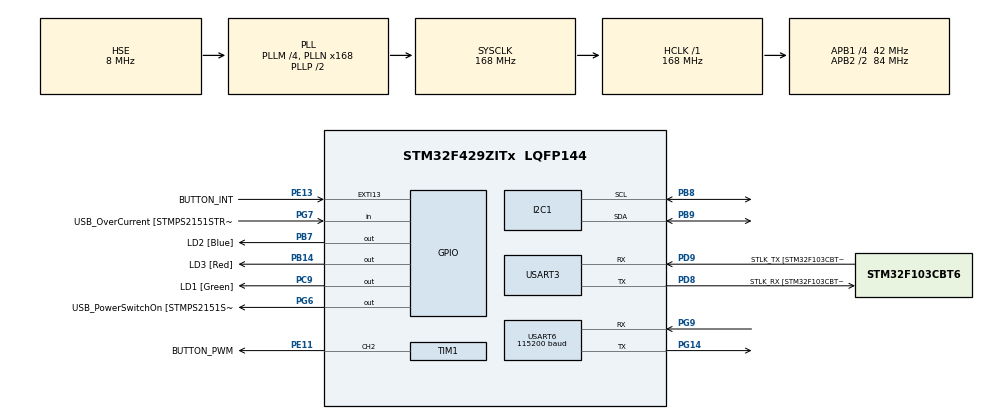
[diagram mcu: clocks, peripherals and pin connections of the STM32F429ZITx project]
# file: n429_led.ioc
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Mcu.Family=STM32F4
Mcu.Name=STM32F429ZITx
Mcu.Package=LQFP144
NVIC.EXTI15_10_IRQn=true\:3\:0\:true\:false\:true\:true\:true
NVIC.PriorityGroup=NVIC_PRIORITYGROUP_4
NVIC.TIM1_TRG_COM_TIM11_IRQn=true\:0\:0\:false\:false\:true\:true\:true
NVIC.USART3_IRQn=true\:0\:0\:false\:false\:true\:true\:true
NVIC.USART6_IRQn=true\:0\:0\:false\:false\:true\:true\:true
PA1.GPIO_Label=RMII_REF_CLK [LAN8742A-CZ-TR_REFCLK0]
PA1.Signal=ETH_REF_CLK
PA10.GPIO_Label=USB_ID
PA10.Signal=USB_OTG_FS_ID
PA11.GPIO_Label=USB_DM
PA11.Signal=USB_OTG_FS_DM
PA12.GPIO_Label=USB_DP
PA12.Signal=USB_OTG_FS_DP
PA13.GPIO_Label=TMS
PA13.Mode=Serial_Wire
PA13.Signal=SYS_JTMS-SWDIO
PA14.GPIO_Label=TCK
PA14.Mode=Serial_Wire
PA14.Signal=SYS_JTCK-SWCLK
PA2.GPIO_Label=RMII_MDIO [LAN8742A-CZ-TR_MDIO]
PA2.Signal=ETH_MDIO
PA7.GPIO_Label=RMII_CRS_DV [LAN8742A-CZ-TR_CRS_DV]
PA7.Signal=ETH_CRS_DV
PA8.GPIO_Label=USB_SOF [TP1]
PA8.Signal=USB_OTG_FS_SOF
PA9.GPIO_Label=USB_VBUS
PA9.Signal=USB_OTG_FS_VBUS
PB13.GPIO_Label=RMII_TXD1 [LAN8742A-CZ-TR_TXD1]
PB13.Signal=ETH_TXD1
PB14.GPIO_Label=LD3 [Red]
PB14.Signal=GPIO_Output
PB7.GPIO_Label=LD2 [Blue]
PB7.Signal=GPIO_Output
PB8.Mode=I2C
PB8.Signal=I2C1_SCL
PB9.Mode=I2C
PB9.Signal=I2C1_SDA
PC1.GPIO_Label=RMII_MDC [LAN8742A-CZ-TR_MDC]
PC1.Signal=ETH_MDC
PC14/OSC32_IN.Mode=LSE-External-Oscillator
PC14/OSC32_IN.Signal=RCC_OSC32_IN
PC15/OSC32_OUT.Mode=LSE-External-Oscillator
PC15/OSC32_OUT.Signal=RCC_OSC32_OUT
PC4.GPIO_Label=RMII_RXD0 [LAN8742A-CZ-TR_RXD0]
PC4.Signal=ETH_RXD0
PC5.GPIO_Label=RMII_RXD1 [LAN8742A-CZ-TR_RXD1]
PC5.Signal=ETH_RXD1
PC9.GPIO_Label=LD1 [Green]
PC9.Signal=GPIO_Output
PD8.GPIO_Label=STLK_RX [STM32F103CBT6_PA3]
PD8.Mode=Asynchronous
PD8.Signal=USART3_TX
PD9.GPIO_Label=STLK_TX [STM32F103CBT6_PA2]
PD9.Mode=Asynchronous
PD9.Signal=USART3_RX
PE11.GPIO_Label=BUTTON_PWM
PE11.Signal=S_TIM1_CH2
PE13.GPIO_Label=BUTTON_INT
PE13.Signal=GPXTI13
PG11.GPIO_Label=RMII_TX_EN [LAN8742A-CZ-TR_TXEN]
PG11.Signal=ETH_TX_EN
PG13.GPIO_Label=RMII_TXD0 [LAN8742A-CZ-TR_TXD0]
PG13.Signal=ETH_TXD0
PG14.Mode=Asynchronous
PG14.Signal=USART6_TX
PG6.GPIO_Label=USB_PowerSwitchOn [STMPS2151STR_EN]
PG6.Signal=GPIO_Output
PG7.GPIO_Label=USB_OverCurrent [STMPS2151STR_FAULT]
PG7.Signal=GPIO_Input
PG9.Mode=Asynchronous
PG9.Signal=USART6_RX
PH0/OSC_IN.GPIO_Label=MCO [STM32F103CBT6_PA8]
PH0/OSC_IN.Mode=HSE-External-Clock-Source
PH0/OSC_IN.Signal=RCC_OSC_IN
PH1/OSC_OUT.Mode=HSE-External-Clock-Source
PH1/OSC_OUT.Signal=RCC_OSC_OUT
ProjectManager.HeapSize=0x200
ProjectManager.StackSize=0x400
ProjectManager.TargetToolchain=STM32CubeIDE
RCC.48MHZClocksFreq_Value=48000000
RCC.AHBFreq_Value=168000000
RCC.APB1CLKDivider=RCC_HCLK_DIV4
RCC.APB1Freq_Value=42000000
RCC.APB1TimFreq_Value=84000000
RCC.APB2CLKDivider=RCC_HCLK_DIV2
RCC.APB2Freq_Value=84000000
RCC.APB2TimCLKDivider=2
RCC.APB2TimFreq_Value=168000000
RCC.CortexFreq_Value=168000000
RCC.HCLKFreq_Value=168000000
RCC.HSE_VALUE=8000000
RCC.HSI_VALUE=16000000
RCC.PLLM=4
RCC.PLLMUL=RCC_PLL_MUL9
RCC.PLLN=168
RCC.PLLQ=7
RCC.PLLSourceVirtual=RCC_PLLSOURCE_HSE
RCC.PRESCALERUSB=RCC_USBCLKSOURCE_PLL_DIV1_5
RCC.SYSCLKFreq_VALUE=168000000
RCC.SYSCLKSource=RCC_SYSCLKSOURCE_PLLCLK
RCC.SYSCLKSourceVirtual=RCC_SYSCLKSOURCE_PLLCLK
RCC.USBFreq_Value=48000000
RCC.VCOOutputFreq_Value=336000000
SH.S_TIM1_CH2.0=TIM1_CH2,PWM Generation2 CH2
TIM1.Channel-PWM\ Generation2\ CH2=TIM_CHANNEL_2
USART3.VirtualMode=VM_ASYNC
USART6.BaudRate=115200
USART6.VirtualMode=VM_ASYNC
VP_TIM1_VS_ClockSourceINT.Mode=Internal
board=NUCLEO-F429ZI

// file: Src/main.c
/* USER CODE BEGIN Header */
/**
  ******************************************************************************
  * @file           : main.c
  * @brief          : Main program body
  ******************************************************************************
  * @attention
  *
  * <h2><center>&copy; Copyright (c) 2019 STMicroelectronics.
  * All rights reserved.</center></h2>
  *
  * This software component is licensed by ST under BSD 3-Clause license,
  * the "License"; You may not use this file except in compliance with the
  * License. You may obtain a copy of the License at:
  *                        opensource.org/licenses/BSD-3-Clause
  *
  ******************************************************************************
  */
/* USER CODE END Header */

#include "main.h"

/* USER CODE BEGIN Includes */
#include <stdio.h>
#include <stdbool.h>
#include <string.h>

#include "debug.h"
#include "ftmq.h"
#include "addresses.h"

#include "ClickLED3.h"

/* USER CODE END Includes */

I2C_HandleTypeDef hi2c1;

TIM_HandleTypeDef htim1;

UART_HandleTypeDef huart3;
UART_HandleTypeDef huart6;

void SystemClock_Config(void);
static void MX_GPIO_Init(void);
static void MX_I2C1_Init(void);
static void MX_USART3_UART_Init(void);
static void MX_TIM1_Init(void);
static void MX_USART6_UART_Init(void);

/* USER CODE BEGIN 0 */

void HAL_UART_RxCpltCallback(UART_HandleTypeDef *UartHandle){

    if(UartHandle->Instance == UART_FT_INSTANCE)
    {
    	protoFtmqCheck();
    }
}

extern void ledCallback(float value){
	// Cycle color with any value

	#define COLORS_COUNT 6
	uint8_t colors[COLORS_COUNT][3] =  {
			  {0xff,   0,    0}, // red
			  {0xff, 0xff,   0}, // yellow
			  {0,    0xff,   0}, // green
			  {0,    0xff, 0xff}, // cyan
			  {0,      0,  0xff}, // blue
			  {0xff,   0,  0xff}  // magenta
	};
	static uint8_t currentColor = 0;

	ClickLED3_SetRGB(colors[currentColor][0], colors[currentColor][1], colors[currentColor][2]);

	currentColor++;
	currentColor %= COLORS_COUNT;

}

/* USER CODE END 0 */

int main(void)
{

  /* MCU Configuration--------------------------------------------------------*/

  /* Reset of all peripherals, Initializes the Flash interface and the Systick. */
  HAL_Init();

  /* Configure the system clock */
  SystemClock_Config();

  /* Initialize all configured peripherals */
  MX_GPIO_Init();
  MX_I2C1_Init();
  MX_USART3_UART_Init();
  MX_TIM1_Init();
  MX_USART6_UART_Init();

  /* Infinite loop */
  /* USER CODE BEGIN WHILE */

  protoFtmqSetup();
  protoFtmqSubscribe(FTMESSAGE_ADDRESS_BUTTON, ledCallback);
  ClickLED3_Reset();
  ClickLED3_SetIntensity(40);
  SERIAL_DEBUG("Beginning\n\r");

  while (1)
  {
	// all code in ledCallback()
	HAL_Delay(10);

    /* USER CODE END WHILE */

  }
}

void SystemClock_Config(void)
{
  RCC_OscInitTypeDef RCC_OscInitStruct = {0};
  RCC_ClkInitTypeDef RCC_ClkInitStruct = {0};

  /** Configure the main internal regulator output voltage
  */
  __HAL_RCC_PWR_CLK_ENABLE();
  __HAL_PWR_VOLTAGESCALING_CONFIG(PWR_REGULATOR_VOLTAGE_SCALE1);
  /** Initializes the CPU, AHB and APB busses clocks
  */
  RCC_OscInitStruct.OscillatorType = RCC_OSCILLATORTYPE_HSE;
  RCC_OscInitStruct.HSEState = RCC_HSE_BYPASS;
  RCC_OscInitStruct.PLL.PLLState = RCC_PLL_ON;
  RCC_OscInitStruct.PLL.PLLSource = RCC_PLLSOURCE_HSE;
  RCC_OscInitStruct.PLL.PLLM = 4;
  RCC_OscInitStruct.PLL.PLLN = 168;
  RCC_OscInitStruct.PLL.PLLP = RCC_PLLP_DIV2;
  RCC_OscInitStruct.PLL.PLLQ = 7;
  if (HAL_RCC_OscConfig(&RCC_OscInitStruct) != HAL_OK)
  {
    Error_Handler();
  }
  /** Initializes the CPU, AHB and APB busses clocks
  */
  RCC_ClkInitStruct.ClockType = RCC_CLOCKTYPE_HCLK|RCC_CLOCKTYPE_SYSCLK
                              |RCC_CLOCKTYPE_PCLK1|RCC_CLOCKTYPE_PCLK2;
  RCC_ClkInitStruct.SYSCLKSource = RCC_SYSCLKSOURCE_PLLCLK;
  RCC_ClkInitStruct.AHBCLKDivider = RCC_SYSCLK_DIV1;
  RCC_ClkInitStruct.APB1CLKDivider = RCC_HCLK_DIV4;
  RCC_ClkInitStruct.APB2CLKDivider = RCC_HCLK_DIV2;

  if (HAL_RCC_ClockConfig(&RCC_ClkInitStruct, FLASH_LATENCY_5) != HAL_OK)
  {
    Error_Handler();
  }
}

static void MX_I2C1_Init(void)
{

  hi2c1.Instance = I2C1;
  hi2c1.Init.ClockSpeed = 100000;
  hi2c1.Init.DutyCycle = I2C_DUTYCYCLE_2;
  hi2c1.Init.OwnAddress1 = 0;
  hi2c1.Init.AddressingMode = I2C_ADDRESSINGMODE_7BIT;
  hi2c1.Init.DualAddressMode = I2C_DUALADDRESS_DISABLE;
  hi2c1.Init.OwnAddress2 = 0;
  hi2c1.Init.GeneralCallMode = I2C_GENERALCALL_DISABLE;
  hi2c1.Init.NoStretchMode = I2C_NOSTRETCH_DISABLE;
  if (HAL_I2C_Init(&hi2c1) != HAL_OK)
  {
    Error_Handler();
  }
  /** Configure Analogue filter
  */
  if (HAL_I2CEx_ConfigAnalogFilter(&hi2c1, I2C_ANALOGFILTER_ENABLE) != HAL_OK)
  {
    Error_Handler();
  }
  /** Configure Digital filter
  */
  if (HAL_I2CEx_ConfigDigitalFilter(&hi2c1, 0) != HAL_OK)
  {
    Error_Handler();
  }

}

static void MX_TIM1_Init(void)
{

  TIM_ClockConfigTypeDef sClockSourceConfig = {0};
  TIM_MasterConfigTypeDef sMasterConfig = {0};
  TIM_OC_InitTypeDef sConfigOC = {0};
  TIM_BreakDeadTimeConfigTypeDef sBreakDeadTimeConfig = {0};

  htim1.Instance = TIM1;
  htim1.Init.Prescaler = 0;
  htim1.Init.CounterMode = TIM_COUNTERMODE_UP;
  htim1.Init.Period = 0;
  htim1.Init.ClockDivision = TIM_CLOCKDIVISION_DIV1;
  htim1.Init.RepetitionCounter = 0;
  htim1.Init.AutoReloadPreload = TIM_AUTORELOAD_PRELOAD_DISABLE;
  if (HAL_TIM_Base_Init(&htim1) != HAL_OK)
  {
    Error_Handler();
  }
  sClockSourceConfig.ClockSource = TIM_CLOCKSOURCE_INTERNAL;
  if (HAL_TIM_ConfigClockSource(&htim1, &sClockSourceConfig) != HAL_OK)
  {
    Error_Handler();
  }
  if (HAL_TIM_PWM_Init(&htim1) != HAL_OK)
  {
    Error_Handler();
  }
  sMasterConfig.MasterOutputTrigger = TIM_TRGO_RESET;
  sMasterConfig.MasterSlaveMode = TIM_MASTERSLAVEMODE_DISABLE;
  if (HAL_TIMEx_MasterConfigSynchronization(&htim1, &sMasterConfig) != HAL_OK)
  {
    Error_Handler();
  }
  sConfigOC.OCMode = TIM_OCMODE_PWM1;
  sConfigOC.Pulse = 0;
  sConfigOC.OCPolarity = TIM_OCPOLARITY_HIGH;
  sConfigOC.OCNPolarity = TIM_OCNPOLARITY_HIGH;
  sConfigOC.OCFastMode = TIM_OCFAST_DISABLE;
  sConfigOC.OCIdleState = TIM_OCIDLESTATE_RESET;
  sConfigOC.OCNIdleState = TIM_OCNIDLESTATE_RESET;
  if (HAL_TIM_PWM_ConfigChannel(&htim1, &sConfigOC, TIM_CHANNEL_2) != HAL_OK)
  {
    Error_Handler();
  }
  sBreakDeadTimeConfig.OffStateRunMode = TIM_OSSR_DISABLE;
  sBreakDeadTimeConfig.OffStateIDLEMode = TIM_OSSI_DISABLE;
  sBreakDeadTimeConfig.LockLevel = TIM_LOCKLEVEL_OFF;
  sBreakDeadTimeConfig.DeadTime = 0;
  sBreakDeadTimeConfig.BreakState = TIM_BREAK_DISABLE;
  sBreakDeadTimeConfig.BreakPolarity = TIM_BREAKPOLARITY_HIGH;
  sBreakDeadTimeConfig.AutomaticOutput = TIM_AUTOMATICOUTPUT_DISABLE;
  if (HAL_TIMEx_ConfigBreakDeadTime(&htim1, &sBreakDeadTimeConfig) != HAL_OK)
  {
    Error_Handler();
  }
  HAL_TIM_MspPostInit(&htim1);

}

static void MX_USART3_UART_Init(void)
{

  huart3.Instance = USART3;
  huart3.Init.BaudRate = 115200;
  huart3.Init.WordLength = UART_WORDLENGTH_8B;
  huart3.Init.StopBits = UART_STOPBITS_1;
  huart3.Init.Parity = UART_PARITY_NONE;
  huart3.Init.Mode = UART_MODE_TX_RX;
  huart3.Init.HwFlowCtl = UART_HWCONTROL_NONE;
  huart3.Init.OverSampling = UART_OVERSAMPLING_16;
  if (HAL_UART_Init(&huart3) != HAL_OK)
  {
    Error_Handler();
  }

}

static void MX_USART6_UART_Init(void)
{

  huart6.Instance = USART6;
  huart6.Init.BaudRate = 115200;
  huart6.Init.WordLength = UART_WORDLENGTH_8B;
  huart6.Init.StopBits = UART_STOPBITS_1;
  huart6.Init.Parity = UART_PARITY_NONE;
  huart6.Init.Mode = UART_MODE_TX_RX;
  huart6.Init.HwFlowCtl = UART_HWCONTROL_NONE;
  huart6.Init.OverSampling = UART_OVERSAMPLING_16;
  if (HAL_UART_Init(&huart6) != HAL_OK)
  {
    Error_Handler();
  }

}

static void MX_GPIO_Init(void)
{
  GPIO_InitTypeDef GPIO_InitStruct = {0};

  /* GPIO Ports Clock Enable */
  __HAL_RCC_GPIOC_CLK_ENABLE();
  __HAL_RCC_GPIOH_CLK_ENABLE();
  __HAL_RCC_GPIOA_CLK_ENABLE();
  __HAL_RCC_GPIOE_CLK_ENABLE();
  __HAL_RCC_GPIOB_CLK_ENABLE();
  __HAL_RCC_GPIOD_CLK_ENABLE();
  __HAL_RCC_GPIOG_CLK_ENABLE();

  /*Configure GPIO pin Output Level */
  HAL_GPIO_WritePin(GPIOB, LD3_Pin|LD2_Pin, GPIO_PIN_RESET);

  /*Configure GPIO pin Output Level */
  HAL_GPIO_WritePin(USB_PowerSwitchOn_GPIO_Port, USB_PowerSwitchOn_Pin, GPIO_PIN_RESET);

  /*Configure GPIO pin Output Level */
  HAL_GPIO_WritePin(LD1_GPIO_Port, LD1_Pin, GPIO_PIN_RESET);

  /*Configure GPIO pins : RMII_MDC_Pin RMII_RXD0_Pin RMII_RXD1_Pin */
  GPIO_InitStruct.Pin = RMII_MDC_Pin|RMII_RXD0_Pin|RMII_RXD1_Pin;
  GPIO_InitStruct.Mode = GPIO_MODE_AF_PP;
  GPIO_InitStruct.Pull = GPIO_NOPULL;
  GPIO_InitStruct.Speed = GPIO_SPEED_FREQ_VERY_HIGH;
  GPIO_InitStruct.Alternate = GPIO_AF11_ETH;
  HAL_GPIO_Init(GPIOC, &GPIO_InitStruct);

  /*Configure GPIO pins : RMII_REF_CLK_Pin RMII_MDIO_Pin RMII_CRS_DV_Pin */
  GPIO_InitStruct.Pin = RMII_REF_CLK_Pin|RMII_MDIO_Pin|RMII_CRS_DV_Pin;
  GPIO_InitStruct.Mode = GPIO_MODE_AF_PP;
  GPIO_InitStruct.Pull = GPIO_NOPULL;
  GPIO_InitStruct.Speed = GPIO_SPEED_FREQ_VERY_HIGH;
  GPIO_InitStruct.Alternate = GPIO_AF11_ETH;
  HAL_GPIO_Init(GPIOA, &GPIO_InitStruct);

  /*Configure GPIO pin : BUTTON_INT_Pin */
  GPIO_InitStruct.Pin = BUTTON_INT_Pin;
  GPIO_InitStruct.Mode = GPIO_MODE_IT_RISING;
  GPIO_InitStruct.Pull = GPIO_NOPULL;
  HAL_GPIO_Init(BUTTON_INT_GPIO_Port, &GPIO_InitStruct);

  /*Configure GPIO pin : RMII_TXD1_Pin */
  GPIO_InitStruct.Pin = RMII_TXD1_Pin;
  GPIO_InitStruct.Mode = GPIO_MODE_AF_PP;
  GPIO_InitStruct.Pull = GPIO_NOPULL;
  GPIO_InitStruct.Speed = GPIO_SPEED_FREQ_VERY_HIGH;
  GPIO_InitStruct.Alternate = GPIO_AF11_ETH;
  HAL_GPIO_Init(RMII_TXD1_GPIO_Port, &GPIO_InitStruct);

  /*Configure GPIO pins : LD3_Pin LD2_Pin */
  GPIO_InitStruct.Pin = LD3_Pin|LD2_Pin;
  GPIO_InitStruct.Mode = GPIO_MODE_OUTPUT_PP;
  GPIO_InitStruct.Pull = GPIO_NOPULL;
  GPIO_InitStruct.Speed = GPIO_SPEED_FREQ_LOW;
  HAL_GPIO_Init(GPIOB, &GPIO_InitStruct);

  /*Configure GPIO pin : USB_PowerSwitchOn_Pin */
  GPIO_InitStruct.Pin = USB_PowerSwitchOn_Pin;
  GPIO_InitStruct.Mode = GPIO_MODE_OUTPUT_PP;
  GPIO_InitStruct.Pull = GPIO_NOPULL;
  GPIO_InitStruct.Speed = GPIO_SPEED_FREQ_LOW;
  HAL_GPIO_Init(USB_PowerSwitchOn_GPIO_Port, &GPIO_InitStruct);

  /*Configure GPIO pin : USB_OverCurrent_Pin */
  GPIO_InitStruct.Pin = USB_OverCurrent_Pin;
  GPIO_InitStruct.Mode = GPIO_MODE_INPUT;
  GPIO_InitStruct.Pull = GPIO_NOPULL;
  HAL_GPIO_Init(USB_OverCurrent_GPIO_Port, &GPIO_InitStruct);

  /*Configure GPIO pin : LD1_Pin */
  GPIO_InitStruct.Pin = LD1_Pin;
  GPIO_InitStruct.Mode = GPIO_MODE_OUTPUT_PP;
  GPIO_InitStruct.Pull = GPIO_NOPULL;
  GPIO_InitStruct.Speed = GPIO_SPEED_FREQ_LOW;
  HAL_GPIO_Init(LD1_GPIO_Port, &GPIO_InitStruct);

  /*Configure GPIO pins : USB_SOF_Pin USB_ID_Pin USB_DM_Pin USB_DP_Pin */
  GPIO_InitStruct.Pin = USB_SOF_Pin|USB_ID_Pin|USB_DM_Pin|USB_DP_Pin;
  GPIO_InitStruct.Mode = GPIO_MODE_AF_PP;
  GPIO_InitStruct.Pull = GPIO_NOPULL;
  GPIO_InitStruct.Speed = GPIO_SPEED_FREQ_VERY_HIGH;
  GPIO_InitStruct.Alternate = GPIO_AF10_OTG_FS;
  HAL_GPIO_Init(GPIOA, &GPIO_InitStruct);

  /*Configure GPIO pin : USB_VBUS_Pin */
  GPIO_InitStruct.Pin = USB_VBUS_Pin;
  GPIO_InitStruct.Mode = GPIO_MODE_INPUT;
  GPIO_InitStruct.Pull = GPIO_NOPULL;
  HAL_GPIO_Init(USB_VBUS_GPIO_Port, &GPIO_InitStruct);

  /*Configure GPIO pins : RMII_TX_EN_Pin RMII_TXD0_Pin */
  GPIO_InitStruct.Pin = RMII_TX_EN_Pin|RMII_TXD0_Pin;
  GPIO_InitStruct.Mode = GPIO_MODE_AF_PP;
  GPIO_InitStruct.Pull = GPIO_NOPULL;
  GPIO_InitStruct.Speed = GPIO_SPEED_FREQ_VERY_HIGH;
  GPIO_InitStruct.Alternate = GPIO_AF11_ETH;
  HAL_GPIO_Init(GPIOG, &GPIO_InitStruct);

  /* EXTI interrupt init*/
  HAL_NVIC_SetPriority(EXTI15_10_IRQn, 3, 0);
  HAL_NVIC_EnableIRQ(EXTI15_10_IRQn);

}

void Error_Handler(void)
{
}

/************************ (C) COPYRIGHT STMicroelectronics *****END OF FILE****/
